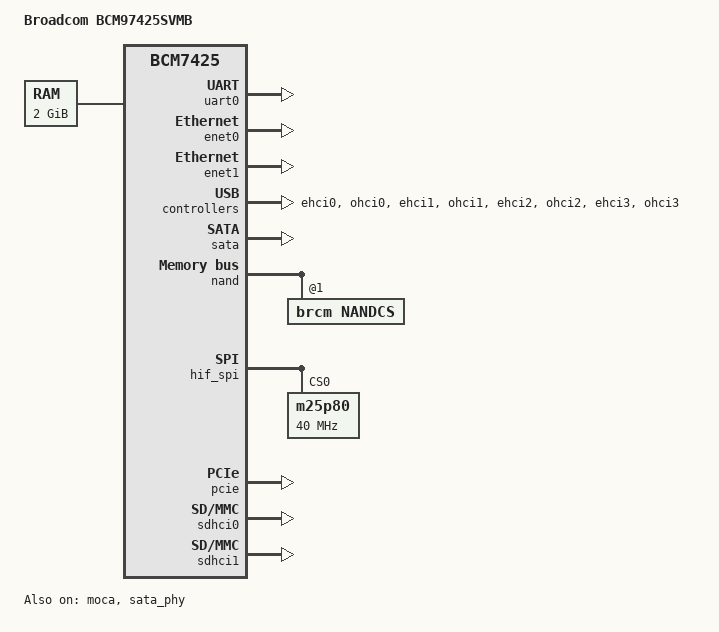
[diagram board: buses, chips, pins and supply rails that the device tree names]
/dts-v1/;

/include/ "bcm7425.dtsi"

/ {
	compatible = "brcm,bcm97425svmb", "brcm,bcm7425";
	model = "Broadcom BCM97425SVMB";

	memory@0 {
		device_type = "memory";
		reg = <0x00000000 0x10000000>,
		      <0x20000000 0x30000000>,
		      <0x90000000 0x40000000>;
	};

	chosen {
		bootargs = "console=ttyS0,115200";
		stdout-path = &uart0;
	};
};

&uart0 {
	status = "okay";
};

&enet0 {
	status = "okay";
};

&enet1 {
	status = "okay";
};

&moca {
	status = "okay";

	pinctrl-names = "default";
	pinctrl-0 = <&moca_bsc_m2_pins>;
};

&ehci0 {
	status = "okay";
};

&ohci0 {
	status = "okay";
};

&ehci1 {
	status = "okay";
};

&ohci1 {
	status = "okay";
};

&ehci2 {
	status = "okay";
};

&ohci2 {
	status = "okay";
};

&ehci3 {
	status = "okay";
};

&ohci3 {
	status = "okay";
};

&sata {
	status = "okay";
};

&sata_phy {
	status = "okay";
};

&nand {
	status = "okay";

	nandcs@1 {
		#size-cells = <0x2>;
		#address-cells = <0x2>;
		compatible = "brcm,nandcs";
		reg = <0x1>;
		nand-on-flash-bbt;

		nand-ecc-strength = <24>;
		nand-ecc-step-size = <1024>;
		brcm,nand-oob-sector-size = <27>;

		rootfs@0 {
			reg = <0x0 0x0 0x0 0x0>;
		};

		kernel@1 {
		        reg = <0x0 0x0 0x0 0x0>;
		};

		flash@0 {
			reg = <0x0 0x0 0x1 0x0>;
		};
	};
};

&hif_spi {
	status = "okay";

	m25p80@0 {
		#size-cells = <2>;
		#address-cells = <2>;
		compatible = "m25p80";
		reg = <0>;
		spi-max-frequency = <40000000>;
		spi-cpol;
		spi-cpha;
		use-bspi;
		m25p,fast-read;

		rootfs@0 {
			reg = <0x0 0x0 0x0 0x0>;
		};

		kernel@1 {
			reg = <0x0 0x0 0x0 0x0>;
		};

		flash@0 {
			reg = <0x0 0x0 0x1 0x0>;
		};
	};
};

&pcie {
	status = "okay";
};

&sdhci0 {
	status = "okay";

	pinctrl-names = "default";
	pinctrl-0 = <&sdio0_core_pins>;
};

&sdhci1 {
	status = "okay";
};

&brcm_pmx_core {
	status = "okay";

	sdio0_core_pins: pinmux_sdio0_pins {
		pinctrl-single,bits = <
			0x38 0x00020000 0x000f0000 /* gpio_072 <- SDIO0_CMD */
			0x38 0x00200000 0x00f00000 /* gpio_073 <- SDIO0_WPROT */
			0x38 0x02000000 0x0f000000 /* gpio_074 <- SDIO0_PWR0 */
			0x38 0x20000000 0xf0000000 /* gpio_075 <- SDIO0_CLK */
			0x3c 0x00000002 0x0000000f /* gpio_076 <- SDIO0_DAT0 */
			0x3c 0x00000020 0x000000f0 /* gpio_077 <- SDIO0_DAT1 */
			0x3c 0x00000200 0x00000f00 /* gpio_078 <- SDIO0_DAT2 */
			0x3c 0x00002000 0x0000f000 /* gpio_079 <- SDIO0_DAT3 */
			0x3c 0x00020000 0x000f0000 /* gpio_080 <- SDIO0_PRES */
			0x3c 0x00200000 0x00f00000 /* gpio_081 <- SDIO0_LED */

			0x74 0x20000000 0x30000000 /* gpio_072 <- PULLUP */
			0x78 0x00000002 0x00000003 /* gpio_073 <- PULLUP */
			0x78 0x00000008 0x0000000c /* gpio_074 <- PULLUP */
			0x78 0x00000020 0x00000030 /* gpio_075 <- PULLUP */
			0x78 0x00000080 0x000000c0 /* gpio_076 <- PULLUP */
			0x78 0x00000200 0x00000300 /* gpio_077 <- PULLUP */
			0x78 0x00000800 0x00000c00 /* gpio_078 <- PULLUP */
			0x78 0x00002000 0x00003000 /* gpio_079 <- PULLUP */
			0x78 0x00008000 0x0000c000 /* gpio_080 <- PULLUP */
			0x78 0x00020000 0x00030000 /* gpio_081 <- PULLUP */
		>;
	};

	moca_bsc_m2_pins: pinmux_moca_bsc_m2_pins {
		pinctrl-single,bits = <
			0x48 0x10000000 0xf0000000 /* sgpio_00 <- BSC_M2_SCL */
			0x4c 0x00000001 0x0000000f /* sgpio_01 <- BSC_M2_SDA */
		>;
	};
};

&brcm_pmx_aon_core {
	status = "okay";

	pinctrl-names = "default";
	pinctrl-0 = <&all_aon_pins>;
	all_aon_pins: pinmux_all_pins {
		pinctrl-single,bits = <
			0x8 0x00005000 0x0000f000 /* gpio_100 <- SDIO0_VOLT */
		>;
	};
};

&brcm_pmx_sdio0 {
	status = "okay";

	pinctrl-names = "default";
	pinctrl-0 = <&sdio0_pins>;
	sdio0_pins: pinmux_all_pins {
		pinctrl-single,bits = <
			0x1c 0x80000008 0xffffffff
			0x30 0x80010008 0xffffffff
		>;
	};
};

&brcm_pmx_sdio1 {
	status = "okay";

	pinctrl-names = "default";
	pinctrl-0 = <&sdio1_pins>;
	sdio1_pins: pinmux_all_pins {
		pinctrl-single,bits = <
			0x1c 0x80000008 0xffffffff
			0x30 0x80010008 0xffffffff
		>;
	};
};
